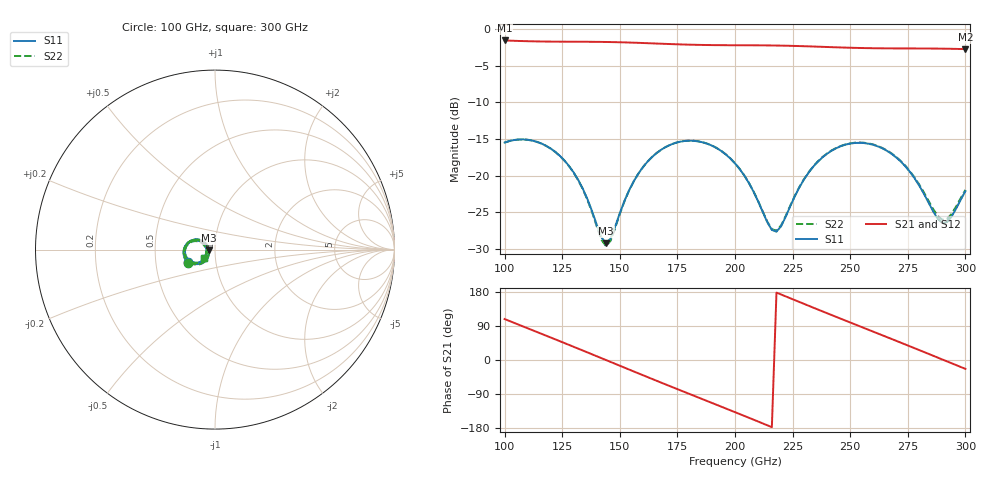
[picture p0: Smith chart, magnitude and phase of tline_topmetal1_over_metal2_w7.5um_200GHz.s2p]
#  GHZ S DB R 50
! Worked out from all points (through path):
!   101 points, 100 GHz to 300 GHz, reference 50 ohm
!   highest |S21| = -1.54 dB at 100 GHz (marker M1); lowest = -2.7 dB at 300 GHz (marker M2)
!   group delay of S21, straight-line fit = 6.83 ps
!   lowest |S11| = -29.2 dB at 144 GHz (marker M3), VSWR 1.07, Z = 46.7 - j0.309 ohm
!   |S11| at or under -10 dB: start of sweep to end of sweep
!   |S22| runs from -29.6 to -15.0 dB; largest |S21 - S12| = 1.4e-13
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100  -15.48 -154.8  -1.54 108.1  -1.54 108.1  -15.48 -154.4
108  -15.05 -171.5  -1.63 88.6  -1.63 88.6  -15.05 -171.2
116  -15.61 172.1  -1.68 69.1  -1.68 69.1  -15.62 172.4
126  -17.93 153.8  -1.71 44.6  -1.71 44.6  -17.96 153.9
134  -21.81 145.1  -1.72 24.9  -1.72 24.9  -21.88 144.9
144  -29.22 -174.5  -1.75 -0.1  -1.75 -0.1  -29.61 -173.5
156  -20.78 -132.4  -1.84 -30.1  -1.84 -30.1  -20.80 -130.6
168  -16.45 -149.8  -1.99 -59.8  -1.99 -59.8  -16.44 -148.3
176  -15.37 -164.8  -2.08 -79.3  -2.08 -79.3  -15.36 -163.4
184  -15.31 179.9  -2.14 -98.7  -2.14 -98.7  -15.30 -178.7
200  -18.31 152.7  -2.19 -137.6  -2.19 -137.6  -18.29 154.2
210  -23.47 149.2  -2.21 -162.3  -2.21 -162.3  -23.43 150.9
218  -27.63 -171.1  -2.23 177.8  -2.23 177.8  -27.50 -169.6
226  -22.78 -138.6  -2.29 157.9  -2.29 157.9  -22.71 -137.5
234  -18.76 -142.0  -2.37 138.1  -2.37 138.1  -18.71 -140.8
250  -15.62 -167.7  -2.53 99.0  -2.53 99.0  -15.58 -166.1
258  -15.63 178.0  -2.59 79.7  -2.59 79.7  -15.59 179.8
268  -17.02 161.5  -2.62 55.4  -2.62 55.4  -16.96 163.5
280  -21.37 150.8  -2.64 26.1  -2.64 26.1  -21.22 153.3
290  -26.46 -179.6  -2.66 1.4  -2.66 1.4  -26.01 -178.0
294  -25.58 -156.7  -2.68 -8.6  -2.68 -8.6  -25.22 -156.4
300  -22.11 -142.3  -2.72 -23.4  -2.72 -23.4  -21.94 -142.2
